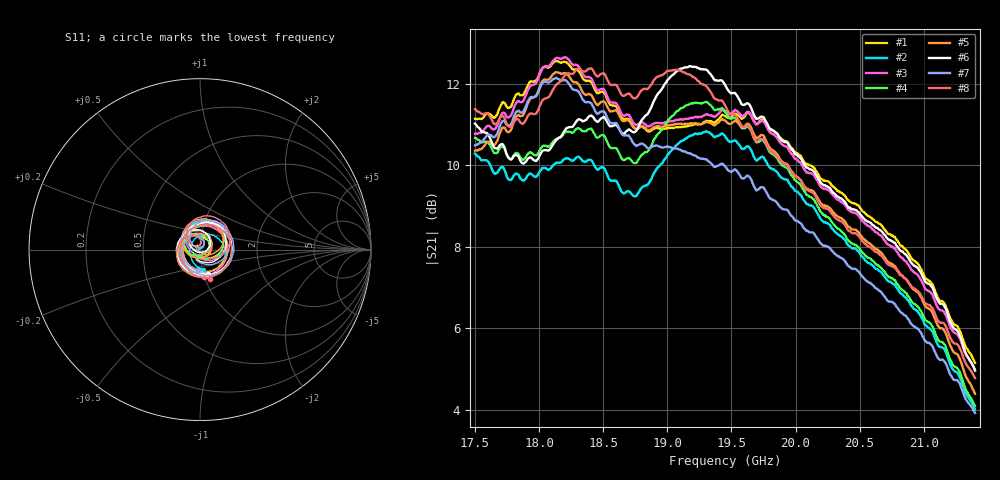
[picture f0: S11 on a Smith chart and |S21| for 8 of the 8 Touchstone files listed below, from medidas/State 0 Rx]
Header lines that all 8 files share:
!Created with skrf (http://scikit-rf.org).
# GHz S RI R 50.0
!freq ReS11 ImS11 ReS21 ImS21 ReS12 ImS12 ReS22 ImS22
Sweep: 17.5 GHz to 21.4 GHz
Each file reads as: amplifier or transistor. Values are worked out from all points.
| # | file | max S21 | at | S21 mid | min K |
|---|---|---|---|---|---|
| 1 | P0_zero.s2p | 12.6 dB | 18.13 GHz | 11.2 dB at 19.45 GHz | 45.93 |
| 2 | P1_zero.s2p | 10.8 dB | 19.3 GHz | 10.7 dB at 19.45 GHz | 41.05 |
| 3 | P2_zero.s2p | 12.6 dB | 18.2 GHz | 11.3 dB at 19.45 GHz | 52.67 |
| 4 | P3_zero.s2p | 11.6 dB | 19.3 GHz | 11.3 dB at 19.45 GHz | 46.61 |
| 5 | P4_zero.s2p | 12.3 dB | 18.13 GHz | 11.1 dB at 19.45 GHz | 61.42 |
| 6 | P5_zero.s2p | 12.4 dB | 19.18 GHz | 12.0 dB at 19.45 GHz | 55.74 |
| 7 | P6_zero.s2p | 12.1 dB | 18.13 GHz | 10.0 dB at 19.45 GHz | 78.62 |
| 8 | P7_zero.s2p | 12.4 dB | 18.41 GHz | 11.5 dB at 19.45 GHz | 56.47 |
